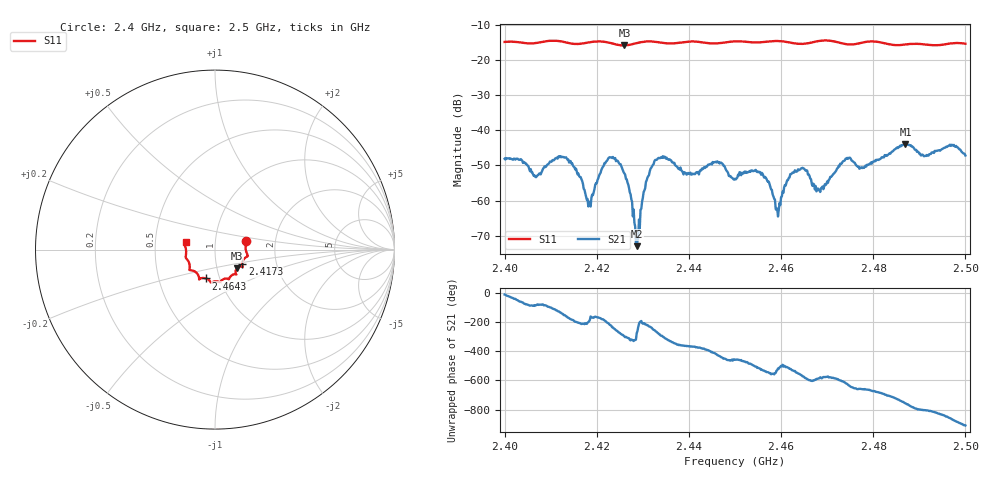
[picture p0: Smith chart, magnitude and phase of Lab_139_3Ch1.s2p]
# Hz S RI R 50
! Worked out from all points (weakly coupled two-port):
!   601 points, 2.4 GHz to 2.5 GHz, reference 50 ohm
!   highest |S21| = -43.90 dB at 2.487 GHz (marker M1); lowest = -73.0 dB at 2.4287 GHz (marker M2)
!   lowest |S11| = -15.9 dB at 2.426 GHz (marker M3), VSWR 1.38, Z = 62.1 - j13.4 ohm
!   |S11| at or under -10 dB: start of sweep to end of sweep
!   S12 and S22 are empty: the file has one direction only
!   S11 on the Smith chart (normalised r, x): 2.4 GHz: 1.41, +0.14; 2.4173 GHz: 1.34, -0.22; 2.4643 GHz: 0.86, -0.28; 2.5 GHz: 0.72, +0.06
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2.4e9  0.1728 0.049  0.00385 -0.0008  0 0  0 0
2.406833e9  0.173 -0.00839  0.000191 -0.00214  0 0  0 0
2.413e9  0.1739 -0.0414  -0.0036 -0.00191  0 0  0 0
2.416667e9  0.1525 -0.0741  -0.00168 0.00113  0 0  0 0
2.417333e9  0.1518 -0.0816  -0.00117 0.000811  0 0  0 0
2.418667e9  0.1528 -0.093  -0.000783 -0.000254  0 0  0 0
2.423e9  0.1454 -0.0939  -0.00306 0.00274  0 0  0 0
2.426e9  0.1207 -0.105  0.00117 0.00212  0 0  0 0
2.428667e9  0.115 -0.129  2.7e-05 0.000224  0 0  0 0
2.430667e9  0.1183 -0.1383  -0.00147 0.0011  0 0  0 0
2.433333e9  0.113 -0.1372  0.000507 0.00399  0 0  0 0
2.44e9  0.0791 -0.1633  0.00241 -0.00026  0 0  0 0
2.446667e9  0.0426 -0.1675  0.000974 -0.00322  0 0  0 0
2.45e9  0.0289 -0.1809  -0.000331 -0.00202  0 0  0 0
2.4555e9  -0.00253 -0.1773  -0.00238 -0.000822  0 0  0 0
2.459333e9  -0.0231 -0.1835  -0.000552 -0.000222  0 0  0 0
2.461667e9  -0.0288 -0.1748  -0.0019 -0.000885  0 0  0 0
2.464333e9  -0.0499 -0.1606  -0.00262 0.00115  0 0  0 0
2.466667e9  -0.0759 -0.1594  -0.000784 0.00154  0 0  0 0
2.483333e9  -0.1407 -0.09  0.00441 0.00121  0 0  0 0
2.487e9  -0.1554 -0.0558  0.0051 -0.00383  0 0  0 0
2.5e9  -0.164 0.0429  -0.00432 0.00066  0 0  0 0
